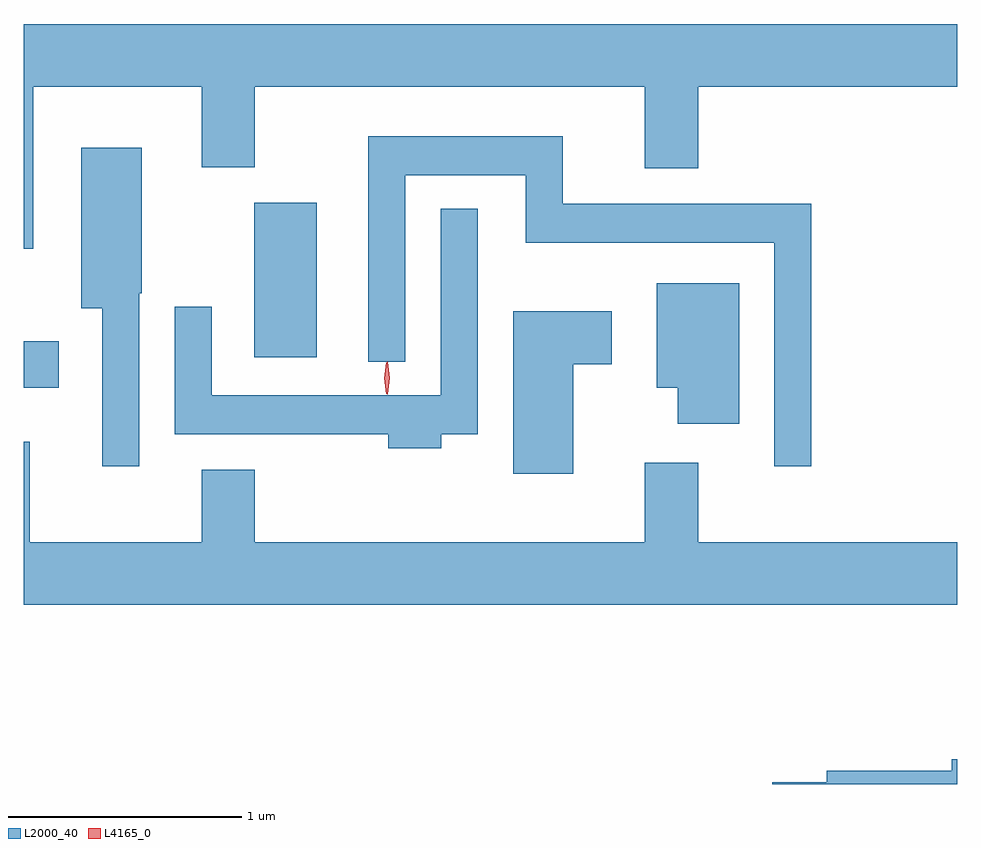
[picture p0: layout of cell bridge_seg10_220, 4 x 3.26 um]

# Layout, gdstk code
import gdstk
lib = gdstk.Library(unit=1e-6, precision=1e-09)
def R(c, l, rs):  # rectangles x0, y0, x1, y1
    for r in rs: c.add(gdstk.rectangle(r[:2], r[2:], *l))
def P(c, l, *ps):  # polygons
    for p in ps: c.add(gdstk.Polygon(p, *l))
L2000_40 = (2000, 40)
L4165_0 = (4165, 0)

bridge_seg10_220 = lib.new_cell('bridge_seg10_220')
R(bridge_seg10_220, L2000_40, [(1760.139,2085.986,1760.289,2086.184), (1761.126,2086.116,1761.394,2086.779)])
P(bridge_seg10_220, L2000_40, [(1760.179,2087.276),(1760.901,2087.276),(1760.901,2086.931),(1761.129,2086.931),(1761.129,2087.276),(1762.801,2087.276),(1762.801,2086.926),(1763.029,2086.926),(1763.029,2087.276),(1764.139,2087.276),(1764.139,2087.544),(1760.139,2087.544),(1760.139,2086.581),(1760.179,2086.581)],
  [(1763.514,2086.774),(1762.449,2086.774),(1762.449,2087.064),(1761.616,2087.064),(1761.616,2086.097),(1761.774,2086.097),(1761.774,2086.896),(1762.291,2086.896),(1762.291,2086.606),(1763.356,2086.606),(1763.356,2085.648),(1763.514,2085.648)],
  [(1760.634,2086.39),(1760.644,2086.39),(1760.644,2087.014),(1760.386,2087.014),(1760.386,2086.326),(1760.476,2086.326),(1760.476,2085.648),(1760.634,2085.648)],
  [(1761.929,2085.786),(1762.084,2085.786),(1762.084,2086.753),(1761.926,2086.753),(1761.926,2085.954),(1760.944,2085.954),(1760.944,2086.333),(1760.786,2086.333),(1760.786,2085.786),(1761.701,2085.786),(1761.701,2085.726),(1761.929,2085.726)],
  [(1763.204,2086.434),(1762.851,2086.434),(1762.851,2085.986),(1762.941,2085.986),(1762.941,2085.831),(1763.204,2085.831)],
  [(1762.494,2086.086),(1762.659,2086.086),(1762.659,2086.314),(1762.236,2086.314),(1762.236,2085.616),(1762.494,2085.616)],
  [(1764.139,2085.324),(1763.029,2085.324),(1763.029,2085.664),(1762.801,2085.664),(1762.801,2085.324),(1761.129,2085.324),(1761.129,2085.634),(1760.901,2085.634),(1760.901,2085.324),(1760.164,2085.324),(1760.164,2085.753),(1760.139,2085.753),(1760.139,2085.056),(1764.139,2085.056)],
  [(1764.139,2084.394),(1764.116,2084.394),(1764.116,2084.344),(1763.581,2084.344),(1763.581,2084.294),(1763.346,2084.294),(1763.346,2084.287),(1764.139,2084.287)])
P(bridge_seg10_220, L4165_0, [(1761.698,2085.957),(1761.697,2085.958),(1761.688,2086.027),(1761.697,2086.096),(1761.697,2086.096),(1761.698,2086.096),(1761.708,2086.027),(1761.698,2085.958)],
  [(1761.694,2085.959),(1761.693,2085.96),(1761.684,2086.026),(1761.693,2086.092),(1761.694,2086.093),(1761.694,2086.092),(1761.704,2086.026),(1761.694,2085.96)])

lib.write_gds('bridge_seg10_220.gds')
